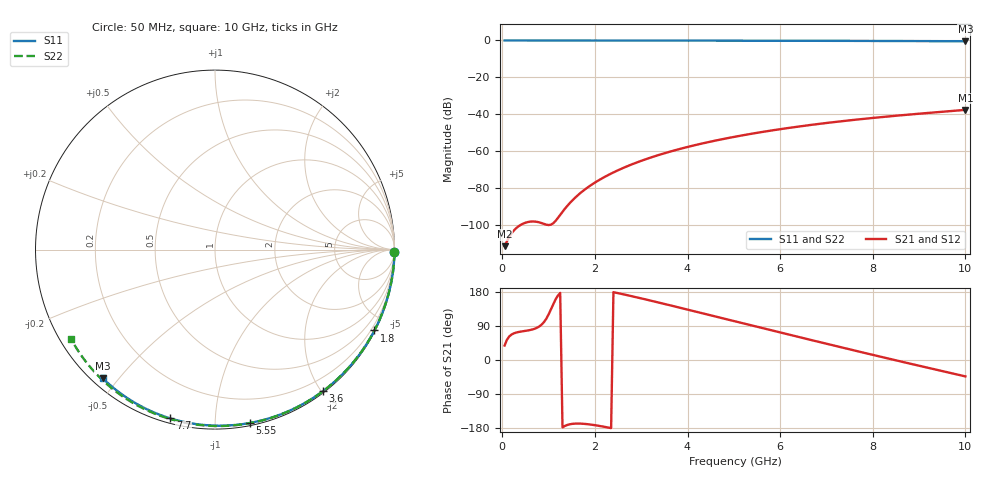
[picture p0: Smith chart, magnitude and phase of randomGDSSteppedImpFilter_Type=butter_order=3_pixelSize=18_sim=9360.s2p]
! freq	dB(S11)	phase(S11)	dB(S12)	phase(S12)
!  dB(S21)	phase(S21)	dB(S22)	phase(S22)
!S-par simulation data
#  GHz  S  DB  R 50
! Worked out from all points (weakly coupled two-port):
!   200 points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, 50 MHz to 10 GHz, reference 50 ohm
!   highest |S21| = -37.71 dB at 10 GHz (marker M1); lowest = -111.7 dB at 50 MHz (marker M2)
!   lowest |S11| = -0.4 dB at 10 GHz (marker M3), VSWR 40.26, Z = 1.5 - j22.7 ohm
!   |S11| at or under -10 dB: nowhere
!   |S22| runs from -0.5 to 0.0 dB; largest |S21 - S12| = 0
!   S11 on the Smith chart (normalised r, x): 50 MHz: open; 1.8 GHz: 0.04, -4.18; 3.6 GHz: 0.02, -2.02; 5.55 GHz: 0.02, -1.22; 7.7 GHz: 0.02, -0.77; 10 GHz: 0.03, -0.45
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0.05  -0.00 -0.8  -111.72 38.1  -111.72 38.1  -0.00 -0.9
0.45  -0.01 -6.8  -99.47 76.0  -99.47 76.0  -0.01 -7.7
0.9  -0.02 -13.6  -99.63 100.0  -99.63 100.0  -0.02 -15.3
1.3  -0.02 -19.5  -93.04 -177.8  -93.04 -177.8  -0.03 -22.0
1.75  -0.03 -26.2  -81.57 -168.3  -81.57 -168.3  -0.04 -29.5
1.8  -0.03 -26.9  -80.61 -168.8  -80.61 -168.8  -0.04 -30.3
1.85  -0.04 -27.6  -79.70 -169.5  -79.70 -169.5  -0.04 -31.1
2.05  -0.04 -30.5  -76.40 -173.0  -76.40 -173.0  -0.04 -34.4
2.25  -0.04 -33.4  -73.57 -177.3  -73.57 -177.3  -0.05 -37.7
2.55  -0.05 -37.8  -69.91 175.1  -69.91 175.1  -0.05 -42.5
2.95  -0.06 -43.5  -65.83 164.0  -65.83 164.0  -0.06 -48.9
3.4  -0.07 -49.8  -62.02 151.0  -62.02 151.0  -0.07 -56.0
3.6  -0.07 -52.6  -60.53 145.0  -60.53 145.0  -0.08 -59.1
4.3  -0.09 -62.1  -56.04 124.0  -56.04 124.0  -0.10 -69.8
5.05  -0.11 -72.1  -52.16 101.3  -52.16 101.3  -0.12 -80.9
5.55  -0.13 -78.5  -49.95 86.3  -49.95 86.3  -0.14 -88.1
6.1  -0.15 -85.5  -47.81 69.7  -47.81 69.7  -0.17 -95.8
6.7  -0.18 -92.9  -45.75 51.8  -45.75 51.8  -0.20 -104.1
7.7  -0.24 -104.9  -42.85 22.3  -42.85 22.3  -0.27 -117.6
8.35  -0.29 -112.5  -41.23 3.4  -41.23 3.4  -0.32 -126.3
9.2  -0.36 -122.2  -39.35 -20.8  -39.35 -20.8  -0.41 -137.5
10  -0.43 -131.2  -37.71 -43.3  -37.71 -43.3  -0.50 -148.1
